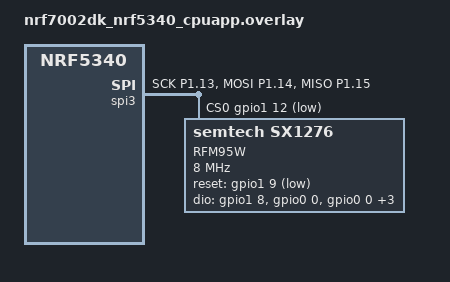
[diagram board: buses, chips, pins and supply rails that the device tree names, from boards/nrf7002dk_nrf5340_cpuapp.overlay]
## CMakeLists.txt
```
# SPDX-License-Identifier: Apache-2.0

cmake_minimum_required(VERSION 3.20.0)
find_package(Zephyr REQUIRED HINTS $ENV{ZEPHYR_BASE})
project(ADARFM)

target_sources(app PRIVATE src/main.c)
```

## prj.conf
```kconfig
# 基础外设
CONFIG_GPIO=y
CONFIG_SPI=y


# LoRa 驱动（SX127x）
CONFIG_LORA=y
CONFIG_LORA_SX127X=y

# 日志
CONFIG_LOG=y
CONFIG_LOG_DEFAULT_LEVEL=3
# CONFIG_LOG_DEFAULT_LEVEL=4
# CONFIG_LORA_LOG_LEVEL_DBG=y


CONFIG_SERIAL=y
CONFIG_CONSOLE=y

# 适当加大栈
CONFIG_MAIN_STACK_SIZE=2048
```

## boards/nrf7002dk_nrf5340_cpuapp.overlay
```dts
// tx

/ {
    aliases {
        lora0 = &rfm95;
    };
};

/* SPI3 使用 Port 1：SCK=P1.13, MOSI=P1.14, MISO=P1.15 */
&spi3 {
    compatible = "nordic,nrf-spim";
    status = "okay";

    pinctrl-0 = <&spi3_default>;
    pinctrl-1 = <&spi3_sleep>;
    cs-gpios = <&gpio1 12 GPIO_ACTIVE_LOW>;   // CS = P1.12

    rfm95: sx1276@0 {
        compatible = "semtech,sx1276";
        reg = <0>;
        label = "RFM95W";
        spi-max-frequency = <8000000>;

        /* 必须要有这些引脚定义 */
        reset-gpios = <&gpio1 9 GPIO_ACTIVE_LOW>;   // RST = P1.09
       // dio-gpios   = <&gpio1 8 GPIO_ACTIVE_HIGH>;  // DIO0 = P1.08


        dio-gpios = <&gpio1 8 (GPIO_ACTIVE_HIGH | GPIO_PULL_UP)>, <&gpio0 0 GPIO_ACTIVE_HIGH>, <&gpio0 0 GPIO_ACTIVE_HIGH>,
                    <&gpio0 0 GPIO_ACTIVE_HIGH>, <&gpio0 0 GPIO_ACTIVE_HIGH>, <&gpio0 0 GPIO_ACTIVE_HIGH>;


        interrupt-parent = <&gpio1>;  

        /* 指定功率放大路径，否则会触发 BUILD_ASSERT 报错 */
        power-amplifier-output = "pa-boost";
       // public-network = <1>;   // ✅ 替代 pa-boost

        /* 如果你希望支持接收，也可加上 RX boost (可选) */
        // rfo-enable-gpios = <&gpio1 7 GPIO_ACTIVE_HIGH>;
    };
};

&pinctrl {
    spi3_default: spi3_default {
        group1 {
            psels = <NRF_PSEL(SPIM_SCK,  1, 13)>,
                    <NRF_PSEL(SPIM_MOSI, 1, 14)>,
                    <NRF_PSEL(SPIM_MISO, 1, 15)>;
        };
    };

    spi3_sleep: spi3_sleep {
        group1 {
            psels = <NRF_PSEL(SPIM_SCK,  1, 13)>,
                    <NRF_PSEL(SPIM_MOSI, 1, 14)>,
                    <NRF_PSEL(SPIM_MISO, 1, 15)>;
            low-power-enable;
        };
    };
};
```

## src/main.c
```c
#include <string.h>
#include <zephyr/device.h>
#include <zephyr/drivers/gpio.h>
#include <zephyr/drivers/spi.h>
#include <zephyr/kernel.h>
#include <zephyr/logging/log.h>

#define LORA_NODE DT_ALIAS(lora0)

LOG_MODULE_REGISTER(main, LOG_LEVEL_INF);

/*================== LoRa 基本参数 ==================*/
#define LORA_FREQ_HZ 915000000UL // 915 MHz
#define TX_POWER 14              // dBm
#define MESSAGE "Hello from nRF7002DK SPI TX"

/*================== SPI 设置 ==================*/
static struct spi_dt_spec lora_spi =
    SPI_DT_SPEC_GET(DT_NODELABEL(rfm95), SPI_WORD_SET(8) | SPI_TRANSFER_MSB, 0);

/*================== SPI 写寄存器 ==================*/
static void sx1276_write_reg(uint8_t reg, uint8_t val) {
  uint8_t tx_buf[2] = {reg | 0x80, val};
  struct spi_buf tx = {.buf = tx_buf, .len = 2};
  const struct spi_buf_set txs = {.buffers = &tx, .count = 1};
  spi_write_dt(&lora_spi, &txs);
}

/*================== SPI 读寄存器 ==================*/
static int sx1276_read_reg(uint8_t reg, uint8_t *val) {
  uint8_t tx_buf[2] = {reg & 0x7F, 0x00};
  uint8_t rx_buf[2] = {0};
  struct spi_buf tx = {.buf = tx_buf, .len = 2};
  struct spi_buf rx = {.buf = rx_buf, .len = 2};
  const struct spi_buf_set tx_set = {.buffers = &tx, .count = 1};
  const struct spi_buf_set rx_set = {.buffers = &rx, .count = 1};
  int ret = spi_transceive_dt(&lora_spi, &tx_set, &rx_set);
  if (ret == 0)
    *val = rx_buf[1];
  return ret;
}

/*================== 写 FIFO 数据 ==================*/
static void sx1276_write_fifo(const uint8_t *data, uint8_t len) {
  uint8_t buf[1 + 64];
  buf[0] = 0x80; // FIFO 寄存器地址 + 写位
  memcpy(&buf[1], data, len);

  struct spi_buf tx = {.buf = buf, .len = len + 1};
  const struct spi_buf_set txs = {.buffers = &tx, .count = 1};
  spi_write_dt(&lora_spi, &txs);
}

/*================== 设置频率 ==================*/
static void sx1276_set_freq(uint32_t freq) {
  uint64_t frf = ((uint64_t)freq << 19) / 32000000; // Fstep = 32 MHz / 2^19
  sx1276_write_reg(0x06, (frf >> 16) & 0xFF);
  sx1276_write_reg(0x07, (frf >> 8) & 0xFF);
  sx1276_write_reg(0x08, (frf) & 0xFF);
}

static void sx1276_init_lora(void) {
  sx1276_write_reg(0x01, 0x80); // Sleep + LoRa
  k_msleep(5);
  sx1276_write_reg(0x01, 0x81 | 0x80); // Standby

  sx1276_set_freq(LORA_FREQ_HZ);

  sx1276_write_reg(0x1D, 0x72); // BW 125kHz, CR 4/5
  sx1276_write_reg(0x1E, 0x74); // SF7 + CRC ON
  sx1276_write_reg(0x26, 0x04); // AGC ON

  sx1276_write_reg(0x39, 0x34); // SyncWord 0x34 (必须 TX RX 相同)
  sx1276_write_reg(0x24, 0x00); // HopPeriod OFF
  sx1276_write_reg(0x0C, 0x23); // LNA Boost
  sx1276_write_reg(0x33, 0x27); // Normal IQ
  sx1276_write_reg(0x3B, 0x1D); // IQ2 固定值

  sx1276_write_reg(0x09, 0x8F); // PA_BOOST +14dBm
  sx1276_write_reg(0x12, 0xFF); // Clear IRQ
}

// static void sx1276_send_packet(const uint8_t *data, uint8_t len)
// {
//     uint8_t irq = 0, mode = 0,  ptr = 0;

//     LOG_INF("----- TX START -----");

//     /* Check current mode */
//     sx1276_read_reg(0x01, &mode);
//     LOG_INF("Before TX: RegOpMode = 0x%02X", mode);

//     /* 彻底清状态：清中断 + Sleep + Standby */
//     sx1276_write_reg(0x12, 0xFF);   // 清中断
//    // sx1276_write_reg(0x01, 0x80);   // Sleep + LoRa
//     //k_busy_wait(500);
//     sx1276_write_reg(0x01, 0x81 | 0x80);   // Standby + LoRa

//     /* ✅ 必须重新写回 CRC 设定（因为 Sleep 会清掉） */
//     sx1276_write_reg(0x1E, 0x74);

//     sx1276_write_reg(0x1D, 0x72); // ✅ BW=125kHz, CR=4/5
//     sx1276_write_reg(0x26, 0x04); // ✅ AGC ON
//     sx1276_write_reg(0x39, 0x34);   // ✅ 补上 SyncWord 恢复

//     /* 重新配置 TX 参数 */
//     //sx1276_write_reg(0x0E, 0x00);

//    // sx1276_write_reg(0x0D, 0x00);

//     // ✅ 正确的 TX FIFO 配置
//     sx1276_write_reg(0x0E, 0x80);  // TX FIFO base address = 0x80
//     sx1276_write_reg(0x0D, 0x80);  // FIFO pointer = 0x80 (TX base)

//     /* Confirm FIFO pointer */
//     sx1276_read_reg(0x0D, &ptr);
//     LOG_INF("FIFO Pointer after write = 0x%02X (expected 0x80)", ptr);

//     sx1276_write_fifo(data, len);
//     sx1276_write_reg(0x22, len);
//     sx1276_write_reg(0x09, 0x8F);   // PA_BOOST + 14dBm

//     // 确保 DIO0 = TX_DONE
//     sx1276_write_reg(0x40, 0x00);  // RegDioMapping1 = 0x00 → DIO0 映射到
//     TX_DONE

//     /* 切换 TX 模式 */
//     sx1276_write_reg(0x01, 0x83);
//     LOG_INF(" switch to TX (0x83)...");

//     /* 等待 TX_DONE */
//     int timeout = 3000;
//     while (timeout--) {
//         sx1276_read_reg(0x12, &irq);
//         if (irq & 0x08) break;
//         k_busy_wait(1000);
//     }

//     /* 读取模式和标志 */
//     sx1276_read_reg(0x01, &mode);
//     LOG_INF("After TX: RegOpMode = 0x%02X, RegIrqFlags = 0x%02X", mode, irq);

//     if (irq & 0x08) {
//         LOG_INF("TX_DONE detected!");
//     } else {
//         LOG_WRN("TX_DONE missing");
//     }

//     /* 清中断并回 Standby */
//     sx1276_write_reg(0x12, 0xFF);
//     sx1276_write_reg(0x01, 0x81 | 0x80); // LoRa Standby

// }

static void sx1276_send_packet(const uint8_t *data, uint8_t len) {
  if (len == 0)
    return;
  if (len > 64)
    len = 64; // SX1276 FIFO 单次最多 64 字节

  uint8_t irq = 0, mode = 0, ptr = 0;

  LOG_INF("----- TX START -----");

  /* 1) 进入 LoRa Standby，清所有中断标志，确保是干净起点 */
  sx1276_write_reg(0x01, 0x81); // LoRa + Standby
  k_msleep(2);
  sx1276_write_reg(0x12, 0xFF); // 清所有 IRQ（含 TxDone）

  /* 2) 确保关键参数一致（某些模式切换可能会被芯片重置） */
  sx1276_set_freq(LORA_FREQ_HZ);
  sx1276_write_reg(0x1D, 0x72); // BW=125kHz, CR=4/5
  sx1276_write_reg(0x1E, 0x74); // SF7 + CRC ON
  sx1276_write_reg(0x26, 0x04); // AGC ON
  sx1276_write_reg(0x39, 0x34); // SyncWord 0x34
  sx1276_write_reg(0x09, 0x8F); // PA_BOOST +14dBm（必要时改功率）

  /* 3) 正确设置 DIO0=TxDone（如果以后要用中断就不踩坑） */
  sx1276_write_reg(0x40, 0x40); // DIO0 = 01b = TxDone（注意：0x00 是 RxDone）

  /* 4) 配置 TX FIFO 并写入数据 */
  sx1276_write_reg(0x0E, 0x80); // TX FIFO base = 0x80
  sx1276_write_reg(0x0D, 0x80); // FIFO pointer = 0x80
  sx1276_read_reg(0x0D, &ptr);
  LOG_INF("FIFO pointer = 0x%02X (expect 0x80)", ptr);

  sx1276_write_fifo(data, len);
  sx1276_write_reg(0x22, len); // RegPayloadLength

  /* 5) 进入 TX 模式并等待 TxDone */
  sx1276_write_reg(0x01, 0x83); // LoRa + TX
  LOG_INF("Switch to TX (0x83)...");

  /* 轮询等待 TxDone；超时做保护（理论上 SF7/125k/29B < 100ms） */
  int i;
  for (i = 0; i < 1000; i++) { // ~1000 ms 上限
    sx1276_read_reg(0x12, &irq);
    if (irq & 0x08)
      break;           // TxDone
    k_busy_wait(1000); // 1 ms
  }

  sx1276_read_reg(0x01, &mode);
  LOG_INF("After TX: RegOpMode=0x%02X, RegIrqFlags=0x%02X", mode, irq);

  if (irq & 0x08) {
    LOG_INF("TX_DONE detected");
  } else {
    LOG_WRN("TX_DONE timeout");
  }

  /* 6) 清 TxDone，并留在 Standby（或按需进入 Sleep） */
  sx1276_write_reg(0x12, 0x08); // 只清 TxDone 位
  sx1276_write_reg(0x01, 0x81); // LoRa + Standby
  k_msleep(2);

  /* 如果你想最大省电，也可以改成：
     sx1276_write_reg(0x01, 0x80);   // LoRa + Sleep
  */
}

/*================== 主函数 ==================*/
void main(void) {
#if DT_NODE_HAS_PROP(LORA_NODE, dio_gpios)
  LOG_INF("DIO GPIOs found in devicetree (runtime confirm)");
#else
  LOG_WRN("DIO GPIOs missing in devicetree (runtime confirm)");
#endif

  LOG_INF("==== SX1276 SPI LoRa TX Test ====");

  sx1276_init_lora();

  static uint32_t packet_counter = 0; // <--- new counter
  char message[64];                   // buffer for formatted text

  while (1) {
    snprintk(message, sizeof(message), "Hello #%lu from nRF7002DK SPI TX",
             (unsigned long)packet_counter);

    LOG_INF("Sending packet #%lu: %s", (unsigned long)packet_counter, message);

    sx1276_send_packet((const uint8_t *)message, strlen(message));

    // === 3️⃣ 自增编号 ===
    packet_counter++;

    k_sleep(K_SECONDS(5));
  }
}
```
